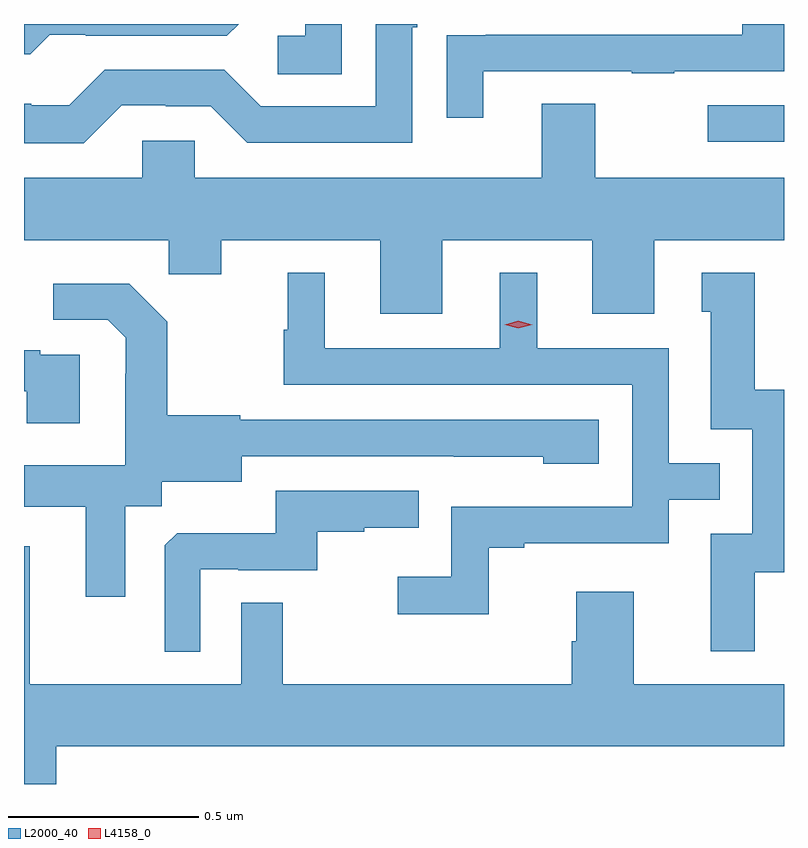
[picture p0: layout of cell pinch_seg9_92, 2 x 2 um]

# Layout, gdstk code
import gdstk
lib = gdstk.Library(unit=1e-6, precision=1e-09)
def R(c, l, rs):  # rectangles x0, y0, x1, y1
    for r in rs: c.add(gdstk.rectangle(r[:2], r[2:], *l))
def P(c, l, *ps):  # polygons
    for p in ps: c.add(gdstk.Polygon(p, *l))
L2000_40 = (2000, 40)
L4158_0 = (4158, 0)

pinch_seg9_92 = lib.new_cell('pinch_seg9_92')
R(pinch_seg9_92, L2000_40, [(1122.225,1183.359,1122.426,1183.455)])
P(pinch_seg9_92, L2000_40, [(1120.683,1183.455),(1120.799,1183.455),(1120.799,1183.452),(1120.917,1183.452),(1121.013,1183.356),(1121.448,1183.356),(1121.448,1183.661),(1121.461,1183.661),(1121.461,1183.669),(1121.352,1183.669),(1121.352,1183.452),(1121.049,1183.452),(1120.953,1183.548),(1120.638,1183.548),(1120.545,1183.455),(1120.445,1183.455),(1120.445,1183.459),(1120.426,1183.459),(1120.426,1183.355),(1120.583,1183.355)],
  [(1120.494,1183.641),(1120.588,1183.641),(1120.588,1183.638),(1120.96,1183.638),(1120.991,1183.669),(1120.426,1183.669),(1120.426,1183.589),(1120.442,1183.589)],
  [(1121.635,1183.545),(1122.025,1183.545),(1122.025,1183.54),(1122.137,1183.54),(1122.137,1183.545),(1122.426,1183.545),(1122.426,1183.669),(1122.316,1183.669),(1122.316,1183.641),(1121.641,1183.641),(1121.641,1183.64),(1121.539,1183.64),(1121.539,1183.422),(1121.635,1183.422)],
  [(1121.262,1183.669),(1121.166,1183.669),(1121.166,1183.638),(1121.094,1183.638),(1121.094,1183.537),(1121.262,1183.537)],
  [(1121.527,1183.1),(1121.921,1183.1),(1121.921,1182.906),(1122.085,1182.906),(1122.085,1183.1),(1122.426,1183.1),(1122.426,1183.264),(1121.929,1183.264),(1121.929,1183.459),(1121.789,1183.459),(1121.789,1183.264),(1120.875,1183.264),(1120.875,1183.362),(1120.737,1183.362),(1120.737,1183.264),(1120.426,1183.264),(1120.426,1183.1),(1120.807,1183.1),(1120.807,1183.01),(1120.945,1183.01),(1120.945,1183.1),(1121.363,1183.1),(1121.363,1182.906),(1121.527,1182.906)],
  [(1122.349,1182.226),(1122.426,1182.226),(1122.426,1182.707),(1122.349,1182.707),(1122.349,1183.015),(1122.209,1183.015),(1122.209,1182.912),(1122.233,1182.912),(1122.233,1182.603),(1122.342,1182.603),(1122.342,1182.327),(1122.233,1182.327),(1122.233,1182.018),(1122.349,1182.018)],
  [(1121.649,1182.291),(1121.743,1182.291),(1121.743,1182.303),(1122.123,1182.303),(1122.123,1182.417),(1122.257,1182.417),(1122.257,1182.513),(1122.123,1182.513),(1122.123,1182.816),(1121.776,1182.816),(1121.776,1183.015),(1121.678,1183.015),(1121.678,1182.816),(1121.218,1182.816),(1121.218,1183.015),(1121.12,1183.015),(1121.12,1182.864),(1121.109,1182.864),(1121.109,1182.72),(1122.027,1182.72),(1122.027,1182.399),(1121.55,1182.399),(1121.55,1182.214),(1121.409,1182.214),(1121.409,1182.116),(1121.649,1182.116)],
  [(1120.693,1182.4),(1120.788,1182.4),(1120.788,1182.464),(1120.999,1182.464),(1120.999,1182.531),(1121.557,1182.531),(1121.557,1182.53),(1121.793,1182.53),(1121.793,1182.512),(1121.938,1182.512),(1121.938,1182.627),(1120.995,1182.627),(1120.995,1182.64),(1120.803,1182.64),(1120.803,1182.885),(1120.703,1182.985),(1120.503,1182.985),(1120.503,1182.891),(1120.647,1182.891),(1120.694,1182.844),(1120.694,1182.749),(1120.692,1182.749),(1120.692,1182.508),(1120.426,1182.508),(1120.426,1182.398),(1120.589,1182.398),(1120.589,1182.162),(1120.693,1182.162)],
  [(1120.573,1182.798),(1120.469,1182.798),(1120.469,1182.811),(1120.426,1182.811),(1120.426,1182.702),(1120.433,1182.702),(1120.433,1182.618),(1120.573,1182.618)],
  [(1120.89,1182.234),(1120.99,1182.234),(1120.99,1182.231),(1121.198,1182.231),(1121.198,1182.333),(1121.321,1182.333),(1121.321,1182.344),(1121.465,1182.344),(1121.465,1182.441),(1121.088,1182.441),(1121.088,1182.329),(1120.829,1182.329),(1120.797,1182.297),(1120.797,1182.017),(1120.89,1182.017)],
  [(1120.511,1181.768),(1122.426,1181.768),(1122.426,1181.932),(1122.031,1181.932),(1122.031,1182.175),(1121.879,1182.175),(1121.879,1182.045),(1121.867,1182.045),(1121.867,1181.932),(1121.107,1181.932),(1121.107,1182.146),(1120.998,1182.146),(1120.998,1181.932),(1120.441,1181.932),(1120.441,1182.295),(1120.426,1182.295),(1120.426,1181.669),(1120.511,1181.669)])
P(pinch_seg9_92, L4158_0, [(1121.727,1182.868),(1121.691,1182.878),(1121.691,1182.878),(1121.691,1182.878),(1121.727,1182.888),(1121.763,1182.878),(1121.763,1182.878),(1121.763,1182.878)])

lib.write_gds('pinch_seg9_92.gds')
